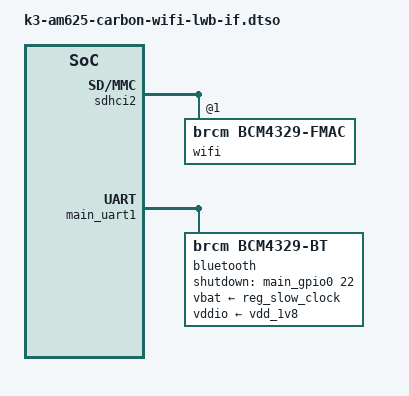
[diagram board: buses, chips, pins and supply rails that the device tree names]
// SPDX-License-Identifier: (GPL-2.0+ OR MIT)
/*
 * SDIO LWBxx & IFxxx module
 *
 * Copyright (C) 2024 Ezurio LLC
 */

/dts-v1/;
/plugin/;

#include <dt-bindings/gpio/gpio.h>

&reg_slow_clock {
	status = "okay";
};

&reg_wifi_en {
	status = "okay";
};

&sdhci2 { /* SDIO_B  WIFI */
	status = "okay";

	#address-cells = <1>;
	#size-cells = <0>;

	wifi@1 {
		reg = <1>;
		compatible = "brcm,bcm4329-fmac";
	};
};

&main_uart1 {
	pinctrl-0 = <&main_uart1_pins_default>, <&main_bt_en_pins_default>;

	status = "okay";

	bluetooth {
		compatible = "brcm,bcm4329-bt";
		vbat-supply = <&reg_slow_clock>;
		vddio-supply = <&vdd_1v8>;
		brcm,requires-autobaud-mode;
		max-speed = <921600>;
		shutdown-gpios = <&main_gpio0 22 GPIO_ACTIVE_HIGH>;
	};
};
